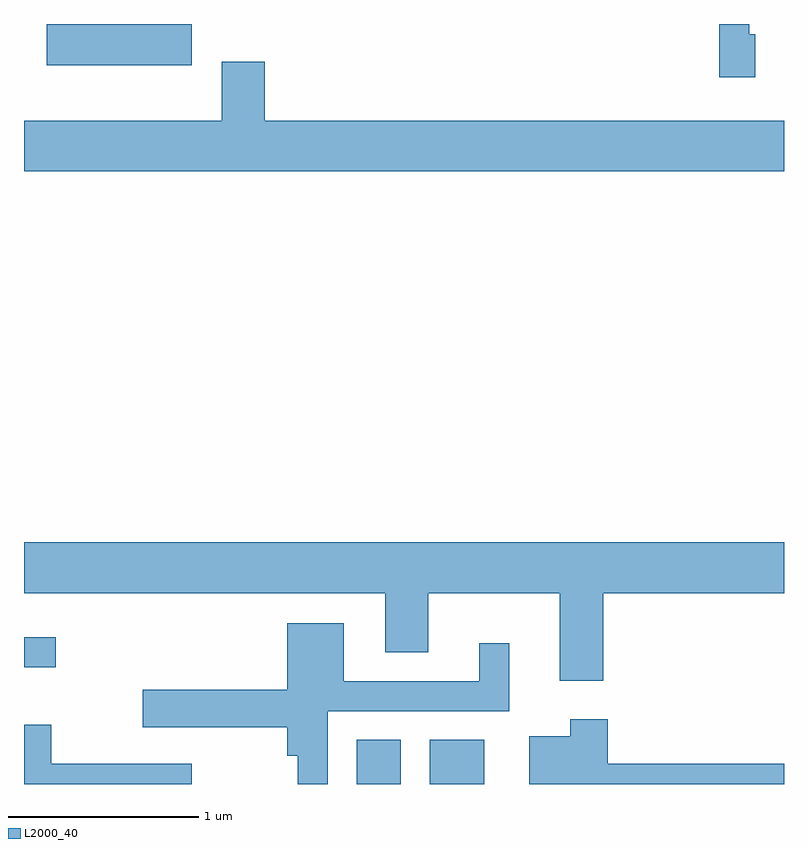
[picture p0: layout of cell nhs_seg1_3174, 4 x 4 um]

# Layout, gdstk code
import gdstk
lib = gdstk.Library(unit=1e-6, precision=1e-09)
def R(c, l, rs):  # rectangles x0, y0, x1, y1
    for r in rs: c.add(gdstk.rectangle(r[:2], r[2:], *l))
def P(c, l, *ps):  # polygons
    for p in ps: c.add(gdstk.Polygon(p, *l))
L2000_40 = (2000, 40)

nhs_seg1_3174 = lib.new_cell('nhs_seg1_3174')
R(nhs_seg1_3174, L2000_40, [(283.361,869.712,283.594,869.944), (283.746,869.712,284.034,869.944), (281.611,870.326,281.778,870.484), (281.731,873.496,282.494,873.712)])
P(nhs_seg1_3174, L2000_40, [(285.459,873.659),(285.429,873.659),(285.429,873.712),(285.271,873.712),(285.271,873.431),(285.459,873.431)],
  [(285.611,873.204),(282.879,873.204),(282.879,873.514),(282.651,873.514),(282.651,873.204),(281.611,873.204),(281.611,872.936),(285.611,872.936)],
  [(284.659,870.716),(285.611,870.716),(285.611,870.984),(281.611,870.984),(281.611,870.716),(283.511,870.716),(283.511,870.406),(283.739,870.406),(283.739,870.716),(284.431,870.716),(284.431,870.256),(284.659,870.256)],
  [(283.209,870.096),(284.164,870.096),(284.164,870.453),(284.006,870.453),(284.006,870.254),(283.294,870.254),(283.294,870.559),(282.996,870.559),(282.996,870.209),(282.236,870.209),(282.236,870.011),(282.996,870.011),(282.996,869.861),(283.051,869.861),(283.051,869.712),(283.209,869.712)],
  [(285.611,869.819),(284.684,869.819),(284.684,870.054),(284.486,870.054),(284.486,869.964),(284.271,869.964),(284.271,869.712),(285.611,869.712)],
  [(282.494,869.819),(281.754,869.819),(281.754,870.024),(281.611,870.024),(281.611,869.712),(282.494,869.712)])

lib.write_gds('nhs_seg1_3174.gds')
